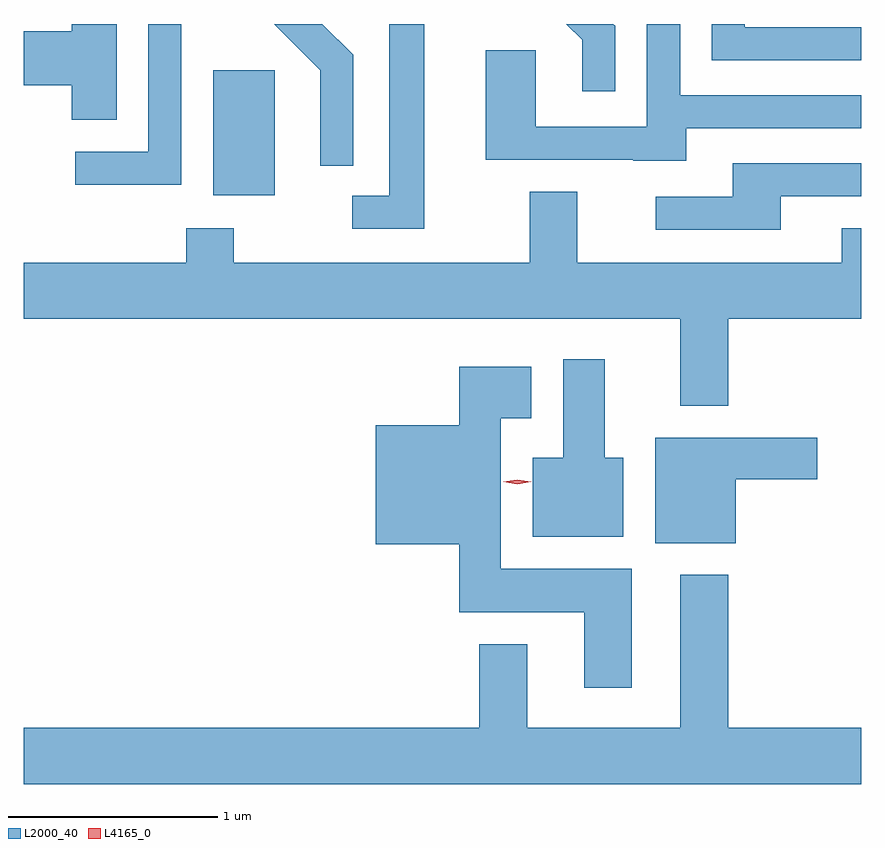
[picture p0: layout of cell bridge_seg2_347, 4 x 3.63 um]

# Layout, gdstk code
import gdstk
lib = gdstk.Library(unit=1e-6, precision=1e-09)
def R(c, l, rs):  # rectangles x0, y0, x1, y1
    for r in rs: c.add(gdstk.rectangle(r[:2], r[2:], *l))
def P(c, l, *ps):  # polygons
    for p in ps: c.add(gdstk.Polygon(p, *l))
L2000_40 = (2000, 40)
L4165_0 = (4165, 0)

bridge_seg2_347 = lib.new_cell('bridge_seg2_347')
R(bridge_seg2_347, L2000_40, [(339.551,1024.486,339.844,1025.084)])
P(bridge_seg2_347, L2000_40, [(341.469,1025.296),(341.461,1025.304),(341.236,1025.304),(341.311,1025.228),(341.311,1024.983),(341.469,1024.983)],
  [(339.089,1025.304),(338.876,1025.304),(338.876,1025.269),(338.645,1025.269),(338.645,1025.011),(338.876,1025.011),(338.876,1024.846),(339.089,1024.846)],
  [(340.559,1025.304),(340.391,1025.304),(340.391,1024.484),(340.213,1024.484),(340.213,1024.326),(340.559,1024.326)],
  [(341.809,1024.806),(342.645,1024.806),(342.645,1024.964),(341.779,1024.964),(341.779,1025.304),(341.621,1025.304),(341.621,1024.814),(341.089,1024.814),(341.089,1025.179),(340.851,1025.179),(340.851,1024.656),(341.555,1024.656),(341.555,1024.651),(341.809,1024.651)],
  [(339.399,1025.304),(339.241,1025.304),(339.241,1024.694),(338.893,1024.694),(338.893,1024.536),(339.399,1024.536)],
  [(340.219,1025.157),(340.072,1025.304),(339.841,1025.304),(340.061,1025.084),(340.061,1024.628),(340.219,1024.628)],
  [(342.645,1025.289),(342.089,1025.289),(342.089,1025.304),(341.931,1025.304),(341.931,1025.131),(342.645,1025.131)],
  [(342.259,1024.481),(342.645,1024.481),(342.645,1024.639),(342.031,1024.639),(342.031,1024.479),(341.663,1024.479),(341.663,1024.321),(342.259,1024.321)],
  [(342.009,1023.896),(342.645,1023.896),(342.645,1024.329),(342.551,1024.329),(342.551,1024.164),(341.289,1024.164),(341.289,1024.504),(341.061,1024.504),(341.061,1024.164),(339.649,1024.164),(339.649,1024.329),(339.421,1024.329),(339.421,1024.164),(338.645,1024.164),(338.645,1023.896),(341.781,1023.896),(341.781,1023.481),(342.009,1023.481)],
  [(341.509,1023.234),(341.419,1023.234),(341.419,1023.704),(341.221,1023.704),(341.221,1023.234),(341.076,1023.234),(341.076,1022.856),(341.509,1022.856)],
  [(341.549,1022.704),(340.924,1022.704),(340.924,1023.421),(341.069,1023.421),(341.069,1023.669),(340.726,1023.669),(340.726,1023.389),(340.326,1023.389),(340.326,1022.821),(340.726,1022.821),(340.726,1022.496),(341.321,1022.496),(341.321,1022.136),(341.549,1022.136)],
  [(342.044,1023.131),(342.434,1023.131),(342.434,1023.329),(341.661,1023.329),(341.661,1022.826),(342.044,1022.826)],
  [(342.645,1021.944),(342.009,1021.944),(342.009,1022.674),(341.781,1022.674),(341.781,1021.944),(341.049,1021.944),(341.049,1022.344),(340.821,1022.344),(340.821,1021.944),(338.645,1021.944),(338.645,1021.676),(342.645,1021.676)])
P(bridge_seg2_347, L4165_0, [(341.002,1023.108),(340.936,1023.118),(340.936,1023.118),(340.936,1023.119),(341.002,1023.128),(341.068,1023.119),(341.068,1023.118),(341.068,1023.118)])

lib.write_gds('bridge_seg2_347.gds')
